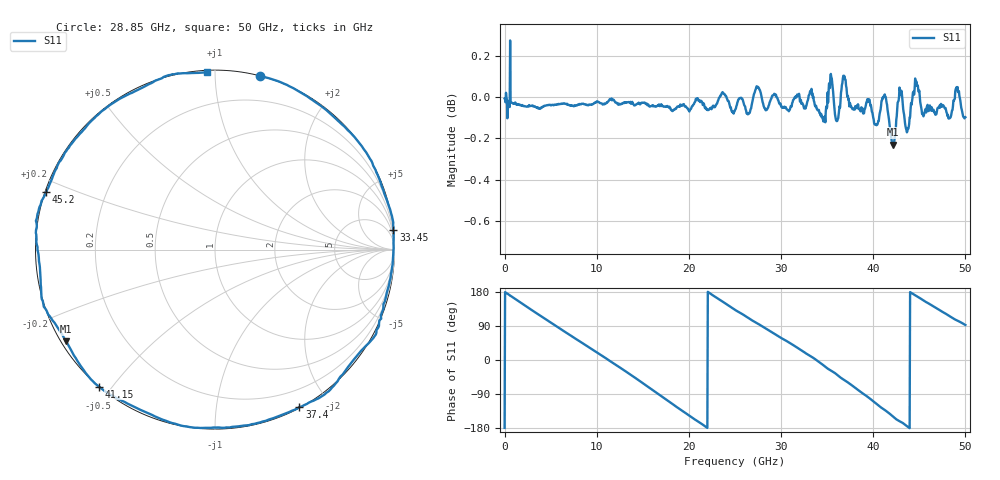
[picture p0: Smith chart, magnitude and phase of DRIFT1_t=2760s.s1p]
!Created with skrf (http://scikit-rf.org).
# Hz S RI R 50.0
!freq ReS11 ImS11
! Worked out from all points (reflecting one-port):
!   1001 points, 300 kHz to 50 GHz, reference 50 ohm
!   lowest |S11| = -0.2 dB at 42.1 GHz (marker M1), VSWR 75.72, Z = 0.713 - j14.2 ohm
!   phase of S11 starts at -179 deg and turns -808 deg over the sweep
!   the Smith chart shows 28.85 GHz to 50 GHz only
!   S11 on the Smith chart (normalised r, x): 28.85 GHz: 0.00, +1.29; 33.45 GHz: 0, +18; 37.4 GHz: 0.01, -1.67; 41.15 GHz: -0.00, -0.46; 45.2 GHz: 0.00, +0.17; 50 GHz: 0.01, +0.96
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300000  -0.9992 -0.0146
1.65029e9  -0.8866 0.4529
3.450279e9  -0.5497 0.8287
6.250262e9  0.1916 0.9778
9.600242e9  0.8917 0.4444
1.250022e10  0.9379 -0.3356
1.400022e10  0.7124 -0.6961
1.580021e10  0.2661 -0.9587
1.72502e10  -0.1616 -0.9816
1.875019e10  -0.575 -0.8119
2.045018e10  -0.8932 -0.4401
2.180017e10  -0.9918 -0.0737
2.345016e10  -0.9233 0.3864
2.500015e10  -0.6683 0.7343
2.715014e10  -0.1814 0.9864
2.885013e10  0.2493 0.9667
3.125011e10  0.7599 0.6459
3.34501e10  0.9937 0.1094
3.545009e10  0.8881 -0.4837
3.740008e10  0.4703 -0.8768
3.750008e10  0.4425 -0.8929
3.940006e10  -0.1271 -0.9904
4.115005e10  -0.647 -0.7633
4.210005e10  -0.8293 -0.5106
4.375004e10  -0.9808 -0.0635
4.520003e10  -0.9412 0.3207
4.765001e10  -0.5735 0.8132
5e10  -0.0419 0.988
